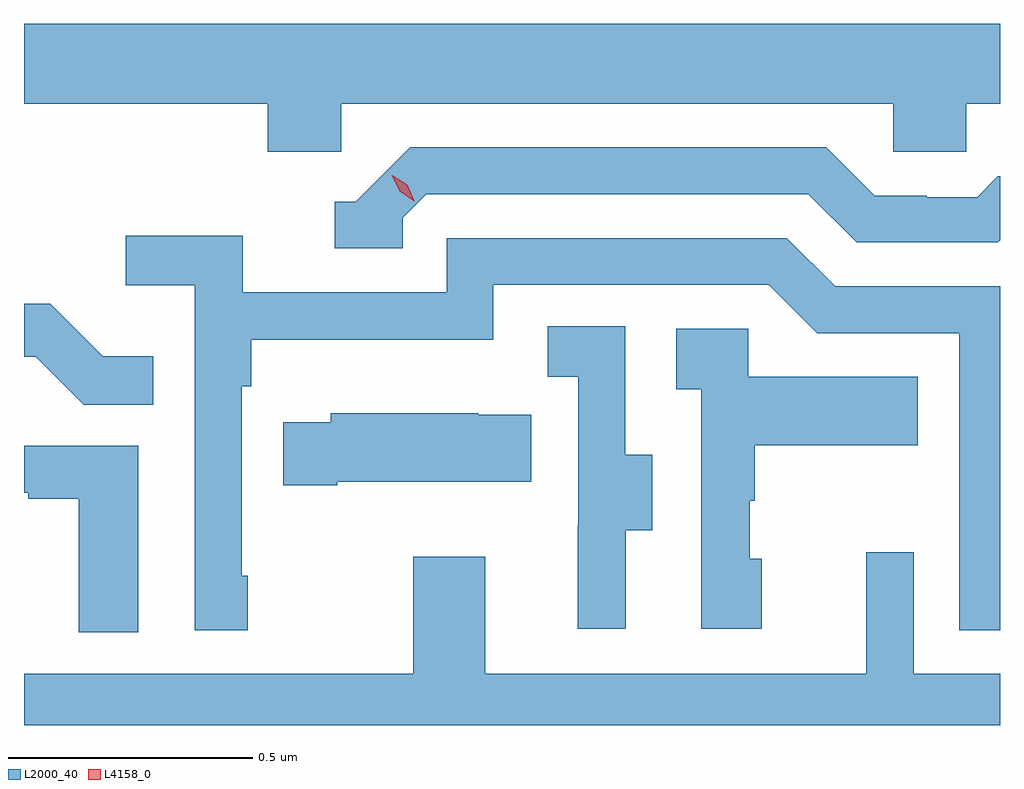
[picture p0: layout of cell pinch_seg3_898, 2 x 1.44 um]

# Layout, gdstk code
import gdstk
lib = gdstk.Library(unit=1e-6, precision=1e-09)
def P(c, l, *ps):  # polygons
    for p in ps: c.add(gdstk.Polygon(p, *l))
L2000_40 = (2000, 40)
L4158_0 = (4158, 0)

pinch_seg3_898 = lib.new_cell('pinch_seg3_898')
P(pinch_seg3_898, L2000_40, [(832.344,706.244),(833.475,706.244),(833.475,706.146),(833.625,706.146),(833.625,706.244),(833.694,706.244),(833.694,706.408),(831.694,706.408),(831.694,706.244),(832.193,706.244),(832.193,706.146),(832.344,706.146)],
  [(832.47,706.011),(832.518,706.059),(833.301,706.059),(833.4,705.96),(833.689,705.96),(833.694,705.965),(833.694,706.096),(833.689,706.096),(833.647,706.053),(833.544,706.053),(833.544,706.056),(833.437,706.056),(833.338,706.155),(832.485,706.155),(832.374,706.044),(832.331,706.044),(832.331,705.948),(832.47,705.948)],
  [(832.153,705.277),(832.14,705.277),(832.14,705.665),(832.16,705.665),(832.16,705.761),(832.656,705.761),(832.656,705.873),(833.22,705.873),(833.319,705.774),(833.61,705.774),(833.61,705.165),(833.694,705.165),(833.694,705.87),(833.356,705.87),(833.257,705.969),(832.56,705.969),(832.56,705.858),(832.142,705.858),(832.142,705.974),(831.903,705.974),(831.903,705.872),(832.044,705.872),(832.044,705.165),(832.153,705.165)],
  [(831.959,705.727),(831.855,705.727),(831.748,705.834),(831.694,705.834),(831.694,705.726),(831.718,705.726),(831.816,705.628),(831.959,705.628)],
  [(832.927,705.37),(832.981,705.37),(832.981,705.525),(832.926,705.525),(832.926,705.788),(832.767,705.788),(832.767,705.685),(832.83,705.685),(832.83,705.381),(832.829,705.381),(832.829,705.168),(832.927,705.168)],
  [(833.206,705.312),(833.181,705.312),(833.181,705.431),(833.191,705.431),(833.191,705.545),(833.525,705.545),(833.525,705.685),(833.178,705.685),(833.178,705.783),(833.031,705.783),(833.031,705.659),(833.082,705.659),(833.082,705.168),(833.206,705.168)],
  [(832.336,705.47),(832.733,705.47),(832.733,705.607),(832.625,705.607),(832.625,705.61),(832.323,705.61),(832.323,705.592),(832.225,705.592),(832.225,705.463),(832.336,705.463)],
  [(831.928,705.543),(831.694,705.543),(831.694,705.447),(831.703,705.447),(831.703,705.435),(831.806,705.435),(831.806,705.161),(831.928,705.161)],
  [(833.694,705.076),(833.517,705.076),(833.517,705.325),(833.42,705.325),(833.42,705.076),(832.639,705.076),(832.639,705.316),(832.492,705.316),(832.492,705.076),(831.694,705.076),(831.694,704.971),(833.694,704.971)])
P(pinch_seg3_898, L4158_0, [(832.494,706.045),(832.464,706.065),(832.448,706.098),(832.448,706.098),(832.449,706.098),(832.479,706.078),(832.494,706.046),(832.494,706.045)])

lib.write_gds('pinch_seg3_898.gds')
